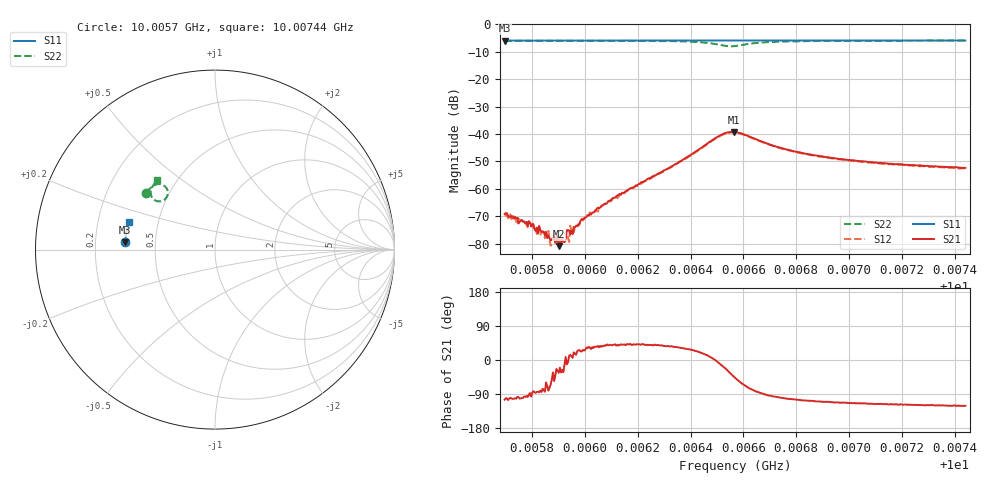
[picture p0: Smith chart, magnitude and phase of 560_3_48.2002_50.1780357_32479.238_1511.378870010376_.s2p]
#  HZ  S  RI  R  50.00
! Rohde & Schwarz Vector Network Analyzer
! Rohde-Schwarz,ZNB20-2Port,1311601062101988,3.16
! Created: UTC 3/20/2024, 12:01:10 PM
! freq[Hz]  re:S11  im:S11  re:S21  im:S21  re:S12  im:S12  re:S22  im:S22
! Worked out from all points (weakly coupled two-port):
!   401 points, 10.0057 GHz to 10.00744 GHz, reference 50 ohm
!   highest |S21| = -39.25 dB at 10.00656 GHz (marker M1); lowest = -80.9 dB at 10.0059 GHz (marker M2)
!   lowest |S11| = -6.0 dB at 10.0057 GHz (marker M3), VSWR 3.01, Z = 16.6 + j1.83 ohm
!   |S11| at or under -10 dB: nowhere
!   |S22| runs from -8.1 to -6.0 dB; largest |S21 - S12| = 0.00076
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1.0005696e10  -0.5 0.0413  -8.89e-05 -0.000336  -5.26e-05 -0.000324  -0.3823 0.3179
1.0005796e10  -0.4998 0.0481  -2.39e-05 -0.000205  8.23e-06 -0.000231  -0.3776 0.324
1.0005822e10  -0.4995 0.0498  1.59e-05 -0.000153  6.9e-05 -0.000183  -0.3762 0.3254
1.0005853e10  -0.4994 0.0518  8.47e-05 -0.000142  6.74e-05 -0.000154  -0.3747 0.3274
1.0005866e10  -0.4994 0.0526  3.78e-05 -0.000121  8.32e-05 -8.13e-05  -0.3739 0.3283
1.0005901e10  -0.4993 0.0549  7.53e-05 -5.02e-05  8.94e-05 -4.68e-05  -0.3721 0.3305
1.0005909e10  -0.4991 0.0554  9.36e-05 -6.04e-05  8.91e-05 -1.91e-05  -0.3716 0.331
1.0005918e10  -0.499 0.0558  9.24e-05 -5.82e-05  0.000131 -1.25e-05  -0.3711 0.3314
1.0005931e10  -0.499 0.0569  0.000174 -3.53e-05  0.000121 1.03e-05  -0.3703 0.3323
1.000594e10  -0.499 0.0574  0.00017 3.22e-05  0.000108 1.2e-05  -0.3698 0.333
1.0005953e10  -0.4989 0.0582  0.000148 1.52e-05  0.000187 6.28e-05  -0.3691 0.3338
1.0005966e10  -0.4987 0.0591  0.000206 5.02e-05  0.000192 5.65e-05  -0.3683 0.3346
1.0005988e10  -0.4987 0.0606  0.000256 0.000106  0.000258 0.000125  -0.367 0.3361
1.0006123e10  -0.4977 0.0694  0.000577 0.000489  0.000492 0.000462  -0.3574 0.3454
1.000628e10  -0.4965 0.0796  0.0015 0.00121  0.00145 0.00123  -0.3404 0.3577
1.0006507e10  -0.4935 0.0941  0.00908 -0.00119  0.00894 -0.000659  -0.2643 0.3294
1.0006564e10  -0.493 0.0969  0.00784 -0.00757  0.0081 -0.00691  -0.2877 0.2743
1.0006568e10  -0.493 0.0972  0.00741 -0.00791  0.00773 -0.0073  -0.2921 0.2722
1.0006725e10  -0.492 0.1073  -0.000776 -0.00584  -0.00048 -0.00576  -0.3588 0.3172
1.0006861e10  -0.4905 0.116  -0.00126 -0.00394  -0.00108 -0.00396  -0.3533 0.3426
1.0007153e10  -0.4865 0.1344  -0.00131 -0.00256  -0.00114 -0.00256  -0.3364 0.3684
1.0007441e10  -0.4817 0.1524  -0.00123 -0.00207  -0.00112 -0.00208  -0.3211 0.385
